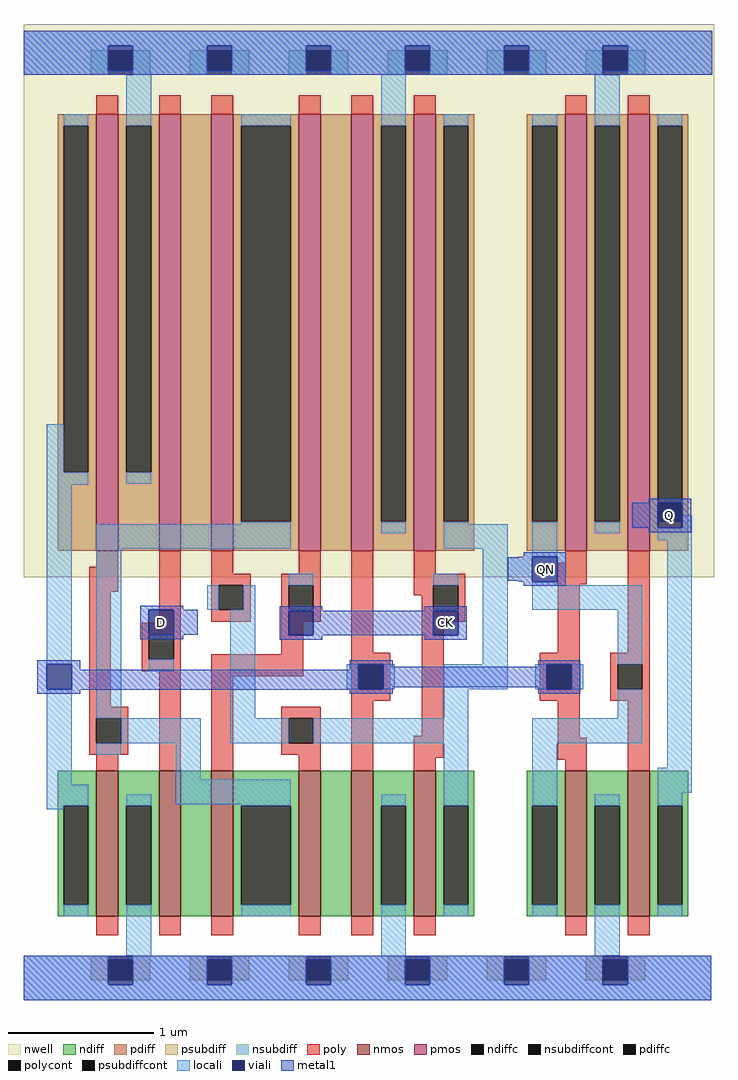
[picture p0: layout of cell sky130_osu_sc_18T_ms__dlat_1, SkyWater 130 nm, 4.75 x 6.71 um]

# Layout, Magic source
magic
tech sky130A
magscale 1 2
<< nwell >>
rect 75 1340 1020 1341
rect 71 581 1020 1340
<< nmos >>
rect 171 115 201 315
rect 257 115 287 315
rect 329 115 359 315
rect 449 115 479 315
rect 521 115 551 315
rect 607 115 637 315
rect 815 115 845 315
rect 901 115 931 315
<< pmos >>
rect 171 617 201 1217
rect 257 617 287 1217
rect 329 617 359 1217
rect 449 617 479 1217
rect 521 617 551 1217
rect 607 617 637 1217
rect 815 617 845 1217
rect 901 617 931 1217
<< ndiff >>
rect 118 267 171 315
rect 118 131 126 267
rect 160 131 171 267
rect 118 115 171 131
rect 201 267 257 315
rect 201 131 212 267
rect 246 131 257 267
rect 201 115 257 131
rect 287 115 329 315
rect 359 267 449 315
rect 359 131 370 267
rect 438 131 449 267
rect 359 115 449 131
rect 479 115 521 315
rect 551 267 607 315
rect 551 131 562 267
rect 596 131 607 267
rect 551 115 607 131
rect 637 267 690 315
rect 637 131 648 267
rect 682 131 690 267
rect 637 115 690 131
rect 762 267 815 315
rect 762 131 770 267
rect 804 131 815 267
rect 762 115 815 131
rect 845 267 901 315
rect 845 131 856 267
rect 890 131 901 267
rect 845 115 901 131
rect 931 267 984 315
rect 931 131 942 267
rect 976 131 984 267
rect 931 115 984 131
<< pdiff >>
rect 118 1201 171 1217
rect 118 725 126 1201
rect 160 725 171 1201
rect 118 617 171 725
rect 201 1201 257 1217
rect 201 725 212 1201
rect 246 725 257 1201
rect 201 617 257 725
rect 287 617 329 1217
rect 359 1201 449 1217
rect 359 657 370 1201
rect 438 657 449 1201
rect 359 617 449 657
rect 479 617 521 1217
rect 551 1201 607 1217
rect 551 657 562 1201
rect 596 657 607 1201
rect 551 617 607 657
rect 637 1201 690 1217
rect 637 657 648 1201
rect 682 657 690 1201
rect 637 617 690 657
rect 762 1201 815 1217
rect 762 657 770 1201
rect 804 657 815 1201
rect 762 617 815 657
rect 845 1201 901 1217
rect 845 657 856 1201
rect 890 657 901 1201
rect 845 617 901 657
rect 931 1201 984 1217
rect 931 657 942 1201
rect 976 657 984 1201
rect 931 617 984 657
<< ndiffc >>
rect 126 131 160 267
rect 212 131 246 267
rect 370 131 438 267
rect 562 131 596 267
rect 648 131 682 267
rect 770 131 804 267
rect 856 131 890 267
rect 942 131 976 267
<< pdiffc >>
rect 126 725 160 1201
rect 212 725 246 1201
rect 370 657 438 1201
rect 562 657 596 1201
rect 648 657 682 1201
rect 770 657 804 1201
rect 856 657 890 1201
rect 942 657 976 1201
<< psubdiff >>
rect 163 27 187 61
rect 221 27 245 61
rect 299 27 323 61
rect 357 27 381 61
rect 435 27 459 61
rect 493 27 517 61
rect 571 27 595 61
rect 629 27 653 61
rect 707 27 731 61
rect 765 27 789 61
rect 843 27 867 61
rect 901 27 925 61
<< nsubdiff >>
rect 163 1271 187 1305
rect 221 1271 245 1305
rect 299 1271 323 1305
rect 357 1271 381 1305
rect 435 1271 459 1305
rect 493 1271 517 1305
rect 571 1271 595 1305
rect 629 1271 653 1305
rect 707 1271 731 1305
rect 765 1271 789 1305
rect 843 1271 867 1305
rect 901 1271 925 1305
<< psubdiffcont >>
rect 187 27 221 61
rect 323 27 357 61
rect 459 27 493 61
rect 595 27 629 61
rect 731 27 765 61
rect 867 27 901 61
<< nsubdiffcont >>
rect 187 1271 221 1305
rect 323 1271 357 1305
rect 459 1271 493 1305
rect 595 1271 629 1305
rect 731 1271 765 1305
rect 867 1271 901 1305
<< poly >>
rect 171 1217 201 1243
rect 257 1217 287 1243
rect 329 1217 359 1243
rect 449 1217 479 1243
rect 521 1217 551 1243
rect 607 1217 637 1243
rect 815 1217 845 1243
rect 901 1217 931 1243
rect 171 595 201 617
rect 161 561 201 595
rect 161 403 191 561
rect 257 518 287 617
rect 329 586 359 617
rect 449 586 479 617
rect 329 570 383 586
rect 329 536 339 570
rect 373 536 383 570
rect 329 520 383 536
rect 425 570 479 586
rect 425 536 435 570
rect 469 536 479 570
rect 425 520 479 536
rect 233 502 287 518
rect 233 468 243 502
rect 277 468 287 502
rect 425 475 455 520
rect 233 452 287 468
rect 161 387 215 403
rect 161 353 171 387
rect 205 353 215 387
rect 161 337 215 353
rect 171 315 201 337
rect 257 315 287 452
rect 329 445 455 475
rect 521 477 551 617
rect 607 586 637 617
rect 815 601 845 617
rect 607 570 678 586
rect 607 556 634 570
rect 618 536 634 556
rect 668 536 678 570
rect 618 520 678 536
rect 805 571 845 601
rect 521 461 575 477
rect 329 315 359 445
rect 521 427 531 461
rect 565 427 575 461
rect 521 411 575 427
rect 425 387 479 403
rect 425 353 435 387
rect 469 353 479 387
rect 425 337 479 353
rect 449 315 479 337
rect 521 315 551 411
rect 618 363 648 520
rect 805 477 835 571
rect 901 477 931 617
rect 780 461 835 477
rect 780 427 790 461
rect 824 427 835 461
rect 780 411 835 427
rect 877 461 931 477
rect 877 427 887 461
rect 921 427 931 461
rect 877 411 931 427
rect 607 333 648 363
rect 805 360 835 411
rect 607 315 637 333
rect 805 330 845 360
rect 815 315 845 330
rect 901 315 931 411
rect 171 89 201 115
rect 257 89 287 115
rect 329 89 359 115
rect 449 89 479 115
rect 521 89 551 115
rect 607 89 637 115
rect 815 89 845 115
rect 901 89 931 115
<< polycont >>
rect 339 536 373 570
rect 435 536 469 570
rect 243 468 277 502
rect 171 353 205 387
rect 634 536 668 570
rect 531 427 565 461
rect 435 353 469 387
rect 790 427 824 461
rect 887 427 921 461
<< locali >>
rect 71 1311 1017 1332
rect 71 1271 187 1311
rect 221 1271 323 1311
rect 357 1271 459 1311
rect 493 1271 595 1311
rect 629 1271 731 1311
rect 765 1271 867 1311
rect 901 1271 1017 1311
rect 126 1201 160 1217
rect 103 725 126 791
rect 103 708 160 725
rect 212 1201 246 1271
rect 212 709 246 725
rect 370 1201 438 1217
rect 103 461 137 708
rect 370 654 438 657
rect 103 296 137 427
rect 171 620 438 654
rect 562 1201 596 1271
rect 562 641 596 657
rect 648 1201 682 1217
rect 648 654 682 657
rect 770 1201 804 1217
rect 648 620 736 654
rect 171 387 205 620
rect 435 570 469 586
rect 323 536 339 570
rect 373 536 389 570
rect 243 452 277 468
rect 355 387 389 536
rect 435 535 469 536
rect 634 570 668 586
rect 634 535 668 536
rect 702 461 736 620
rect 770 609 804 657
rect 856 1201 890 1271
rect 856 641 890 657
rect 942 1201 976 1217
rect 976 649 989 666
rect 942 632 989 649
rect 770 570 804 575
rect 770 536 921 570
rect 887 461 921 536
rect 515 427 531 461
rect 565 427 581 461
rect 648 427 736 461
rect 774 427 790 461
rect 824 427 840 461
rect 648 387 682 427
rect 887 387 921 427
rect 205 353 314 387
rect 355 353 435 387
rect 469 353 682 387
rect 171 337 205 353
rect 280 303 314 353
rect 103 267 160 296
rect 103 262 126 267
rect 126 115 160 131
rect 212 267 246 283
rect 280 269 438 303
rect 212 61 246 131
rect 370 267 438 269
rect 370 115 438 131
rect 562 267 596 283
rect 562 61 596 131
rect 648 267 682 353
rect 648 115 682 131
rect 770 353 921 387
rect 770 267 804 353
rect 955 319 989 632
rect 942 285 989 319
rect 770 115 804 131
rect 856 267 890 283
rect 856 61 890 131
rect 942 267 976 285
rect 942 115 976 131
rect 71 21 187 61
rect 221 21 323 61
rect 357 21 459 61
rect 493 21 595 61
rect 629 21 731 61
rect 765 21 867 61
rect 901 21 1016 61
rect 71 0 1016 21
<< viali >>
rect 187 1305 221 1311
rect 187 1277 221 1305
rect 323 1305 357 1311
rect 323 1277 357 1305
rect 459 1305 493 1311
rect 459 1277 493 1305
rect 595 1305 629 1311
rect 595 1277 629 1305
rect 731 1305 765 1311
rect 731 1277 765 1305
rect 867 1305 901 1311
rect 867 1277 901 1305
rect 103 427 137 461
rect 243 502 277 536
rect 435 501 469 535
rect 634 501 668 535
rect 942 657 976 683
rect 942 649 976 657
rect 770 575 804 609
rect 531 427 565 461
rect 790 427 824 461
rect 187 27 221 55
rect 187 21 221 27
rect 323 27 357 55
rect 323 21 357 27
rect 459 27 493 55
rect 459 21 493 27
rect 595 27 629 55
rect 595 21 629 27
rect 731 27 765 55
rect 731 21 765 27
rect 867 27 901 55
rect 867 21 901 27
<< metal1 >>
rect 71 1311 1017 1332
rect 71 1277 187 1311
rect 221 1277 323 1311
rect 357 1277 459 1311
rect 493 1277 595 1311
rect 629 1277 731 1311
rect 765 1277 867 1311
rect 901 1277 1017 1311
rect 71 1271 1017 1277
rect 930 683 988 689
rect 907 649 942 683
rect 976 649 988 683
rect 930 643 988 649
rect 758 609 816 615
rect 751 608 770 609
rect 736 576 770 608
rect 751 575 770 576
rect 804 575 816 609
rect 758 569 816 575
rect 231 536 290 542
rect 231 502 243 536
rect 277 502 310 536
rect 423 535 481 541
rect 622 535 680 541
rect 231 496 290 502
rect 423 501 435 535
rect 469 501 634 535
rect 668 501 680 535
rect 423 495 481 501
rect 622 495 680 501
rect 90 461 149 467
rect 90 427 103 461
rect 137 454 149 461
rect 519 461 578 467
rect 519 454 531 461
rect 137 427 531 454
rect 565 458 578 461
rect 778 461 836 467
rect 778 458 790 461
rect 565 430 790 458
rect 565 427 578 430
rect 90 426 578 427
rect 90 421 149 426
rect 519 421 578 426
rect 778 427 790 430
rect 824 427 836 461
rect 778 421 836 427
rect 71 55 1016 61
rect 71 21 187 55
rect 221 21 323 55
rect 357 21 459 55
rect 493 21 595 55
rect 629 21 731 55
rect 765 21 867 55
rect 901 21 1016 55
rect 71 0 1016 21
<< labels >>
rlabel metal1 651 518 651 518 1 CK
port 1 n
rlabel metal1 260 518 260 518 1 D
port 2 n
rlabel metal1 959 666 959 666 1 Q
port 3 n
rlabel metal1 788 592 788 592 1 QN
port 4 n
<< end >>
